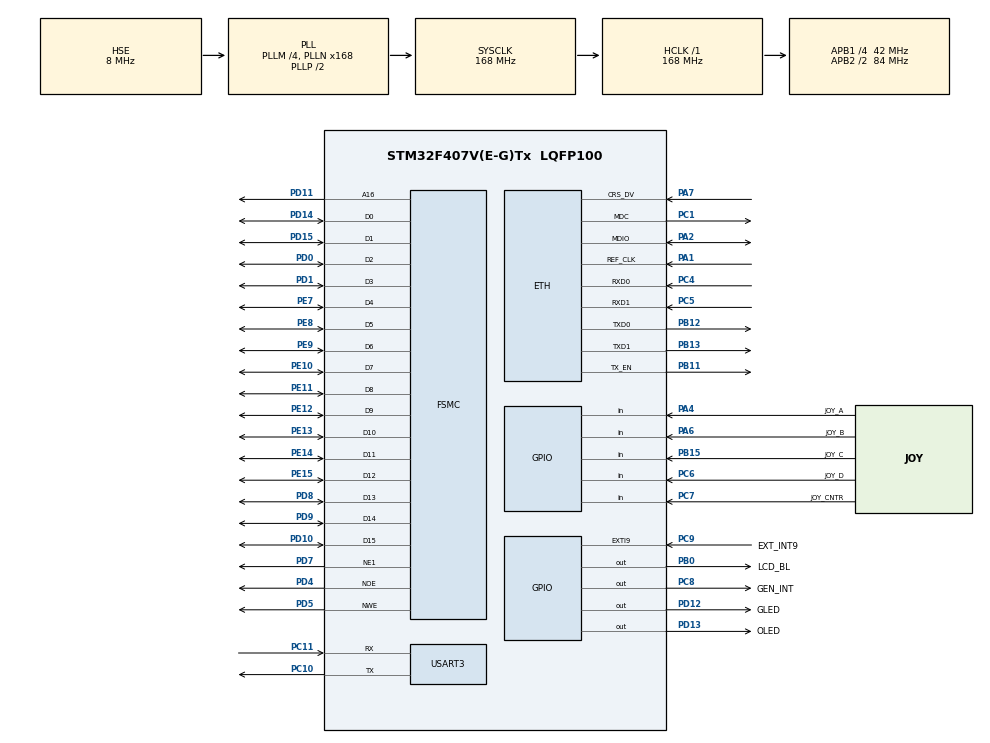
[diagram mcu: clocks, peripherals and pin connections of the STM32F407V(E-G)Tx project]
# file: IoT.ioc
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ETH.MACAddr=00\:17\:A1\:00\:00\:07
ETH.MediaInterface=ETH_MEDIA_INTERFACE_RMII
ETH.PHY_Name_RMII=DP83848_PHY_ADDRESS
ETH.PhyAddress=1
ETH.RxMode=ETH_RXINTERRUPT_MODE
Mcu.Family=STM32F4
Mcu.Name=STM32F407V(E-G)Tx
Mcu.Package=LQFP100
NVIC.ETH_IRQn=true\:0\:0\:false\:false\:true\:true\:true
NVIC.EXTI9_5_IRQn=true\:0\:0\:false\:false\:true\:true\:true
NVIC.PriorityGroup=NVIC_PRIORITYGROUP_4
NVIC.TIM1_UP_TIM10_IRQn=true\:0\:0\:false\:false\:true\:false\:true
NVIC.TimeBase=TIM1_UP_TIM10_IRQn
NVIC.TimeBaseIP=TIM1
PA1.Mode=RMII
PA1.Signal=ETH_REF_CLK
PA13.Mode=Serial_Wire
PA13.Signal=SYS_JTMS-SWDIO
PA14.Mode=Serial_Wire
PA14.Signal=SYS_JTCK-SWCLK
PA2.Mode=RMII
PA2.Signal=ETH_MDIO
PA4.GPIO_Label=JOY_A
PA4.GPIO_PuPd=GPIO_PULLUP
PA4.Signal=GPIO_Input
PA6.GPIO_Label=JOY_B
PA6.GPIO_PuPd=GPIO_PULLUP
PA6.Signal=GPIO_Input
PA7.Mode=RMII
PA7.Signal=ETH_CRS_DV
PB0.GPIO_Label=LCD_BL
PB0.GPIO_PuPd=GPIO_PULLUP
PB0.GPIO_Speed=GPIO_SPEED_FREQ_VERY_HIGH
PB0.Signal=GPIO_Output
PB11.Mode=RMII
PB11.Signal=ETH_TX_EN
PB12.Mode=RMII
PB12.Signal=ETH_TXD0
PB13.Mode=RMII
PB13.Signal=ETH_TXD1
PB15.GPIO_Label=JOY_C
PB15.GPIO_Mode=GPIO_MODE_INPUT
PB15.GPIO_PuPd=GPIO_PULLUP
PB15.Signal=GPIO_Input
PC1.Mode=RMII
PC1.Signal=ETH_MDC
PC10.Mode=Asynchronous
PC10.Signal=USART3_TX
PC11.Mode=Asynchronous
PC11.Signal=USART3_RX
PC14-OSC32_IN.Mode=LSE-External-Oscillator
PC14-OSC32_IN.Signal=RCC_OSC32_IN
PC15-OSC32_OUT.Mode=LSE-External-Oscillator
PC15-OSC32_OUT.Signal=RCC_OSC32_OUT
PC4.Mode=RMII
PC4.Signal=ETH_RXD0
PC5.Mode=RMII
PC5.Signal=ETH_RXD1
PC6.GPIO_Label=JOY_D
PC6.GPIO_PuPd=GPIO_PULLUP
PC6.Signal=GPIO_Input
PC7.GPIO_Label=JOY_CNTR
PC7.GPIO_PuPd=GPIO_PULLUP
PC7.Signal=GPIO_Input
PC8.GPIO_Label=GEN_INT
PC8.GPIO_PuPd=GPIO_PULLDOWN
PC8.GPIO_Speed=GPIO_SPEED_FREQ_VERY_HIGH
PC8.PinState=GPIO_PIN_SET
PC8.Signal=GPIO_Output
PC9.GPIO_Label=EXT_INT9
PC9.GPIO_ModeDefaultEXTI=GPIO_MODE_IT_FALLING
PC9.GPIO_PuPd=GPIO_NOPULL
PC9.Signal=GPXTI9
PD0.Mode=16b-d1
PD0.Signal=FSMC_D2
PD1.Mode=16b-d1
PD1.Signal=FSMC_D3
PD10.Mode=16b-d1
PD10.Signal=FSMC_D15
PD11.Mode=A16_1
PD11.Signal=FSMC_A16
PD12.GPIO_Label=GLED
PD12.GPIO_PuPd=GPIO_PULLUP
PD12.GPIO_Speed=GPIO_SPEED_FREQ_VERY_HIGH
PD12.Signal=GPIO_Output
PD13.GPIO_Label=OLED
PD13.GPIO_ModeDefaultOutputPP=GPIO_MODE_OUTPUT_PP
PD13.GPIO_PuPd=GPIO_PULLUP
PD13.GPIO_Speed=GPIO_SPEED_FREQ_VERY_HIGH
PD13.Signal=GPIO_Output
PD14.Mode=16b-d1
PD14.Signal=FSMC_D0
PD15.Mode=16b-d1
PD15.Signal=FSMC_D1
PD4.Mode=Lcd1
PD4.Signal=FSMC_NOE
PD5.Mode=Lcd1
PD5.Signal=FSMC_NWE
PD7.Mode=NorPsramChipSelect1_1
PD7.Signal=FSMC_NE1
PD8.Mode=16b-d1
PD8.Signal=FSMC_D13
PD9.Mode=16b-d1
PD9.Signal=FSMC_D14
PE10.Mode=16b-d1
PE10.Signal=FSMC_D7
PE11.Mode=16b-d1
PE11.Signal=FSMC_D8
PE12.Mode=16b-d1
PE12.Signal=FSMC_D9
PE13.Mode=16b-d1
PE13.Signal=FSMC_D10
PE14.Mode=16b-d1
PE14.Signal=FSMC_D11
PE15.Mode=16b-d1
PE15.Signal=FSMC_D12
PE7.Mode=16b-d1
PE7.Signal=FSMC_D4
PE8.Mode=16b-d1
PE8.Signal=FSMC_D5
PE9.Mode=16b-d1
PE9.Signal=FSMC_D6
PH0-OSC_IN.Mode=HSE-External-Oscillator
PH0-OSC_IN.Signal=RCC_OSC_IN
PH1-OSC_OUT.Mode=HSE-External-Oscillator
PH1-OSC_OUT.Signal=RCC_OSC_OUT
ProjectManager.HeapSize=0x200
ProjectManager.StackSize=0x400
ProjectManager.TargetToolchain=STM32CubeIDE
RCC.48MHZClocksFreq_Value=48000000
RCC.AHBFreq_Value=168000000
RCC.APB1CLKDivider=RCC_HCLK_DIV4
RCC.APB1Freq_Value=42000000
RCC.APB1TimFreq_Value=84000000
RCC.APB2CLKDivider=RCC_HCLK_DIV2
RCC.APB2Freq_Value=84000000
RCC.APB2TimFreq_Value=168000000
RCC.CortexFreq_Value=168000000
RCC.HCLKFreq_Value=168000000
RCC.HSE_VALUE=8000000
RCC.HSI_VALUE=16000000
RCC.PLLM=4
RCC.PLLN=168
RCC.PLLQ=7
RCC.PLLSourceVirtual=RCC_PLLSOURCE_HSE
RCC.SYSCLKFreq_VALUE=168000000
RCC.SYSCLKSource=RCC_SYSCLKSOURCE_PLLCLK
RCC.VCOOutputFreq_Value=336000000
USART3.VirtualMode=VM_ASYNC
VP_CRC_VS_CRC.Mode=CRC_Activate
VP_RNG_VS_RNG.Mode=RNG_Activate
VP_SYS_VS_tim1.Mode=TIM1
board=custom

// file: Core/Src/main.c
/* USER CODE BEGIN Header */
/**
  ******************************************************************************
  * @file           : main.c
  * @brief          : Main program body
  ******************************************************************************
  * @attention
  *
  * <h2><center>&copy; Copyright (c) 2023 STMicroelectronics.
  * All rights reserved.</center></h2>
  *
  * This software component is licensed by ST under BSD 3-Clause license,
  * the "License"; You may not use this file except in compliance with the
  * License. You may obtain a copy of the License at:
  *                        opensource.org/licenses/BSD-3-Clause
  *
  ******************************************************************************
  */
/* USER CODE END Header */

#include "main.h"

CRC_HandleTypeDef hcrc;

ETH_HandleTypeDef heth;

RNG_HandleTypeDef hrng;

UART_HandleTypeDef huart3;

SRAM_HandleTypeDef hsram1;

/* USER CODE BEGIN PV */
UART_HandleTypeDef *console = &huart3;

osThreadId TestThreadID;

void TestThread(void const * argument);
void MailThread(void const * argument);
/* USER CODE END PV */

void SystemClock_Config(void);
static void MX_GPIO_Init(void);
static void MX_CRC_Init(void);
static void MX_RNG_Init(void);
static void MX_USART3_UART_Init(void);
static void MX_ETH_Init(void);
static void MX_FSMC_Init(void);

/* USER CODE BEGIN 0 */
void EnterInterrupt(void)
{
	HAL_GPIO_WritePin(GEN_INT_GPIO_Port, GEN_INT_Pin, GPIO_PIN_RESET);
}

void ExitInterrupt(void)
{
	HAL_GPIO_WritePin(GEN_INT_GPIO_Port, GEN_INT_Pin, GPIO_PIN_SET);
}

////////////////////////////////////////////////////////////////////////////////////////////////////////////////////////////////////////////
//	Added by William
//	Cortex M4 case
//	Running the RTOS on a ARM Cortex-M Core
//	https://www.freertos.org/RTOS-Cortex-M3-M4.html
////////////////////////////////////////////////////////////////////////////////////////////////////////////////////////////////////////////
void osNVICInterruptInit(void)
{
	osNVICInterruptSetPriority(TIM1_UP_TIM10_IRQn, osInterruptPriorityKernelRealTime);
	osNVICInterruptSetPriority(ETH_IRQn, osInterruptPriorityKernelNormal);
	osNVICInterruptSetPriority(EXTI9_5_IRQn, osInterruptPriorityAppHigh);

	return;
}
////////////////////////////////////////////////////////////////////////////////////////////////////////////////////////////////////////////
/* USER CODE END 0 */

int main(void)
{

  /* MCU Configuration--------------------------------------------------------*/

  /* Reset of all peripherals, Initializes the Flash interface and the Systick. */
  HAL_Init();

  /* Configure the system clock */
  SystemClock_Config();

  /* Initialize all configured peripherals */
  MX_GPIO_Init();
  MX_CRC_Init();
  MX_RNG_Init();
  MX_USART3_UART_Init();
  MX_ETH_Init();
  MX_FSMC_Init();
  /* USER CODE BEGIN 2 */
  kprintf("\r\nWelcome to Digital Museum at %s %s\r\n", __DATE__, __TIME__);
  kprintf("https://www.youtube.com/@digitalmuseum6400\r\n");
  kprintf("https://github.com/KwangHyuk73\r\n");
  kprintf("e-mail:ponytail2k@gmail.com\r\n");

  	osKernelInitialize();

	osThreadDef(Test, TestThread, configMINIMAL_STACK_SIZE*4, osPriorityNormal);
	TestThreadID = osThreadCreate(osThread(Test), 0);

	osThreadDef (Mail, MailThread, configMINIMAL_STACK_SIZE, osPriorityNormal);
	osThreadCreate (osThread (Mail), NULL);

	osKernelStart();

	//////////////////////////////////////////////////////////////////////////////////////////////////////////////////
	//	The Fellowship of the Ring, Gandalf blocks the Balrog.
	//	"You shall not pass!!!"
	//////////////////////////////////////////////////////////////////////////////////////////////////////////////////
  /* USER CODE END 2 */

  /* Infinite loop */
  /* USER CODE BEGIN WHILE */
  while (1)
  {
	  uint32_t i;
	  uint32_t reg;

	  HAL_ETH_ReadPHYRegister(&heth, DP83848_PHYID1, &reg);
	  kprintf("%04X:", reg);
	  HAL_ETH_ReadPHYRegister(&heth, DP83848_PHYID2, &reg);
	  kprintf("%04X ", reg);
	  for (i=0; i<100000; i++) {
		  i=i;
	  }
    /* USER CODE END WHILE */

  }
}

void SystemClock_Config(void)
{
  RCC_OscInitTypeDef RCC_OscInitStruct = {0};
  RCC_ClkInitTypeDef RCC_ClkInitStruct = {0};

  /** Configure the main internal regulator output voltage
  */
  __HAL_RCC_PWR_CLK_ENABLE();
  __HAL_PWR_VOLTAGESCALING_CONFIG(PWR_REGULATOR_VOLTAGE_SCALE1);
  /** Initializes the CPU, AHB and APB busses clocks
  */
  RCC_OscInitStruct.OscillatorType = RCC_OSCILLATORTYPE_HSE;
  RCC_OscInitStruct.HSEState = RCC_HSE_ON;
  RCC_OscInitStruct.PLL.PLLState = RCC_PLL_ON;
  RCC_OscInitStruct.PLL.PLLSource = RCC_PLLSOURCE_HSE;
  RCC_OscInitStruct.PLL.PLLM = 4;
  RCC_OscInitStruct.PLL.PLLN = 168;
  RCC_OscInitStruct.PLL.PLLP = RCC_PLLP_DIV2;
  RCC_OscInitStruct.PLL.PLLQ = 7;
  if (HAL_RCC_OscConfig(&RCC_OscInitStruct) != HAL_OK)
  {
    Error_Handler();
  }
  /** Initializes the CPU, AHB and APB busses clocks
  */
  RCC_ClkInitStruct.ClockType = RCC_CLOCKTYPE_HCLK|RCC_CLOCKTYPE_SYSCLK
                              |RCC_CLOCKTYPE_PCLK1|RCC_CLOCKTYPE_PCLK2;
  RCC_ClkInitStruct.SYSCLKSource = RCC_SYSCLKSOURCE_PLLCLK;
  RCC_ClkInitStruct.AHBCLKDivider = RCC_SYSCLK_DIV1;
  RCC_ClkInitStruct.APB1CLKDivider = RCC_HCLK_DIV4;
  RCC_ClkInitStruct.APB2CLKDivider = RCC_HCLK_DIV2;

  if (HAL_RCC_ClockConfig(&RCC_ClkInitStruct, FLASH_LATENCY_5) != HAL_OK)
  {
    Error_Handler();
  }
}

static void MX_CRC_Init(void)
{

  hcrc.Instance = CRC;
  if (HAL_CRC_Init(&hcrc) != HAL_OK)
  {
    Error_Handler();
  }

}

static void MX_ETH_Init(void)
{

  /* USER CODE BEGIN ETH_Init 1 */
	/*
	 * In DP83848C Datasheet,  1.6 Strap Options.
	 * PHYAD0 pin has weak internal pull-up resistor.
	 * PHYAD[4:1] pins have weak internal pull-down resistors.
	 */
  /* USER CODE END ETH_Init 1 */
  heth.Instance = ETH;
  heth.Init.AutoNegotiation = ETH_AUTONEGOTIATION_ENABLE;
  heth.Init.PhyAddress = DP83848_PHY_ADDRESS;
  heth.Init.MACAddr[0] =   0x00;
  heth.Init.MACAddr[1] =   0x17;
  heth.Init.MACAddr[2] =   0xA1;
  heth.Init.MACAddr[3] =   0x00;
  heth.Init.MACAddr[4] =   0x00;
  heth.Init.MACAddr[5] =   0x07;
  heth.Init.RxMode = ETH_RXINTERRUPT_MODE;
  heth.Init.ChecksumMode = ETH_CHECKSUM_BY_HARDWARE;
  heth.Init.MediaInterface = ETH_MEDIA_INTERFACE_RMII;

  if (HAL_ETH_Init(&heth) != HAL_OK)
  {
    Error_Handler();
  }

}

static void MX_RNG_Init(void)
{

  hrng.Instance = RNG;
  if (HAL_RNG_Init(&hrng) != HAL_OK)
  {
    Error_Handler();
  }

}

static void MX_USART3_UART_Init(void)
{

  huart3.Instance = USART3;
  huart3.Init.BaudRate = 115200;
  huart3.Init.WordLength = UART_WORDLENGTH_8B;
  huart3.Init.StopBits = UART_STOPBITS_1;
  huart3.Init.Parity = UART_PARITY_NONE;
  huart3.Init.Mode = UART_MODE_TX_RX;
  huart3.Init.HwFlowCtl = UART_HWCONTROL_NONE;
  huart3.Init.OverSampling = UART_OVERSAMPLING_16;
  if (HAL_UART_Init(&huart3) != HAL_OK)
  {
    Error_Handler();
  }

}

static void MX_GPIO_Init(void)
{
  GPIO_InitTypeDef GPIO_InitStruct = {0};

  /* GPIO Ports Clock Enable */
  __HAL_RCC_GPIOC_CLK_ENABLE();
  __HAL_RCC_GPIOH_CLK_ENABLE();
  __HAL_RCC_GPIOA_CLK_ENABLE();
  __HAL_RCC_GPIOB_CLK_ENABLE();
  __HAL_RCC_GPIOE_CLK_ENABLE();
  __HAL_RCC_GPIOD_CLK_ENABLE();

  /*Configure GPIO pin Output Level */
  HAL_GPIO_WritePin(LCD_BL_GPIO_Port, LCD_BL_Pin, GPIO_PIN_RESET);

  /*Configure GPIO pin Output Level */
  HAL_GPIO_WritePin(GPIOD, GLED_Pin|OLED_Pin, GPIO_PIN_RESET);

  /*Configure GPIO pin Output Level */
  HAL_GPIO_WritePin(GEN_INT_GPIO_Port, GEN_INT_Pin, GPIO_PIN_SET);

  /*Configure GPIO pins : JOY_A_Pin JOY_B_Pin */
  GPIO_InitStruct.Pin = JOY_A_Pin|JOY_B_Pin;
  GPIO_InitStruct.Mode = GPIO_MODE_INPUT;
  GPIO_InitStruct.Pull = GPIO_PULLUP;
  HAL_GPIO_Init(GPIOA, &GPIO_InitStruct);

  /*Configure GPIO pin : LCD_BL_Pin */
  GPIO_InitStruct.Pin = LCD_BL_Pin;
  GPIO_InitStruct.Mode = GPIO_MODE_OUTPUT_PP;
  GPIO_InitStruct.Pull = GPIO_PULLUP;
  GPIO_InitStruct.Speed = GPIO_SPEED_FREQ_VERY_HIGH;
  HAL_GPIO_Init(LCD_BL_GPIO_Port, &GPIO_InitStruct);

  /*Configure GPIO pin : JOY_C_Pin */
  GPIO_InitStruct.Pin = JOY_C_Pin;
  GPIO_InitStruct.Mode = GPIO_MODE_INPUT;
  GPIO_InitStruct.Pull = GPIO_PULLUP;
  HAL_GPIO_Init(JOY_C_GPIO_Port, &GPIO_InitStruct);

  /*Configure GPIO pins : GLED_Pin OLED_Pin */
  GPIO_InitStruct.Pin = GLED_Pin|OLED_Pin;
  GPIO_InitStruct.Mode = GPIO_MODE_OUTPUT_PP;
  GPIO_InitStruct.Pull = GPIO_PULLUP;
  GPIO_InitStruct.Speed = GPIO_SPEED_FREQ_VERY_HIGH;
  HAL_GPIO_Init(GPIOD, &GPIO_InitStruct);

  /*Configure GPIO pins : JOY_D_Pin JOY_CNTR_Pin */
  GPIO_InitStruct.Pin = JOY_D_Pin|JOY_CNTR_Pin;
  GPIO_InitStruct.Mode = GPIO_MODE_INPUT;
  GPIO_InitStruct.Pull = GPIO_PULLUP;
  HAL_GPIO_Init(GPIOC, &GPIO_InitStruct);

  /*Configure GPIO pin : GEN_INT_Pin */
  GPIO_InitStruct.Pin = GEN_INT_Pin;
  GPIO_InitStruct.Mode = GPIO_MODE_OUTPUT_PP;
  GPIO_InitStruct.Pull = GPIO_PULLDOWN;
  GPIO_InitStruct.Speed = GPIO_SPEED_FREQ_VERY_HIGH;
  HAL_GPIO_Init(GEN_INT_GPIO_Port, &GPIO_InitStruct);

  /*Configure GPIO pin : EXT_INT9_Pin */
  GPIO_InitStruct.Pin = EXT_INT9_Pin;
  GPIO_InitStruct.Mode = GPIO_MODE_IT_FALLING;
  GPIO_InitStruct.Pull = GPIO_NOPULL;
  HAL_GPIO_Init(EXT_INT9_GPIO_Port, &GPIO_InitStruct);

  /* EXTI interrupt init*/
  HAL_NVIC_SetPriority(EXTI9_5_IRQn, 0, 0);
  HAL_NVIC_EnableIRQ(EXTI9_5_IRQn);

}

/* FSMC initialization function */
static void MX_FSMC_Init(void)
{

  FSMC_NORSRAM_TimingTypeDef Timing = {0};

  /** Perform the SRAM1 memory initialization sequence
  */
  hsram1.Instance = FSMC_NORSRAM_DEVICE;
  hsram1.Extended = FSMC_NORSRAM_EXTENDED_DEVICE;
  /* hsram1.Init */
  hsram1.Init.NSBank = FSMC_NORSRAM_BANK1;
  hsram1.Init.DataAddressMux = FSMC_DATA_ADDRESS_MUX_DISABLE;
  hsram1.Init.MemoryType = FSMC_MEMORY_TYPE_SRAM;
  hsram1.Init.MemoryDataWidth = FSMC_NORSRAM_MEM_BUS_WIDTH_16;
  hsram1.Init.BurstAccessMode = FSMC_BURST_ACCESS_MODE_DISABLE;
  hsram1.Init.WaitSignalPolarity = FSMC_WAIT_SIGNAL_POLARITY_LOW;
  hsram1.Init.WrapMode = FSMC_WRAP_MODE_DISABLE;
  hsram1.Init.WaitSignalActive = FSMC_WAIT_TIMING_BEFORE_WS;
  hsram1.Init.WriteOperation = FSMC_WRITE_OPERATION_ENABLE;
  hsram1.Init.WaitSignal = FSMC_WAIT_SIGNAL_DISABLE;
  hsram1.Init.ExtendedMode = FSMC_EXTENDED_MODE_DISABLE;
  hsram1.Init.AsynchronousWait = FSMC_ASYNCHRONOUS_WAIT_DISABLE;
  hsram1.Init.WriteBurst = FSMC_WRITE_BURST_DISABLE;
  hsram1.Init.PageSize = FSMC_PAGE_SIZE_NONE;
  /* Timing */
  Timing.AddressSetupTime = 15;
  Timing.AddressHoldTime = 15;
  Timing.DataSetupTime = 255;
  Timing.BusTurnAroundDuration = 15;
  Timing.CLKDivision = 16;
  Timing.DataLatency = 17;
  Timing.AccessMode = FSMC_ACCESS_MODE_A;
  /* ExtTiming */

  if (HAL_SRAM_Init(&hsram1, &Timing, NULL) != HAL_OK)
  {
    Error_Handler( );
  }

}

/* USER CODE BEGIN 4 */
volatile uint8_t *pCharPointer;

void TestThread(void const * argument)
{
	int i;

	osDelay(100);

	cmsis_rv();

	/* Infinite loop */
	for(i = 0;;i++) {
		//kprintf("T");
		osDelay(1000);
	}
}

/* USER CODE END 4 */

void HAL_TIM_PeriodElapsedCallback(TIM_HandleTypeDef *htim)
{
  if (htim->Instance == TIM1) {
    HAL_IncTick();
  }
}

void Error_Handler(void)
{
}

/************************ (C) COPYRIGHT STMicroelectronics *****END OF FILE****/
